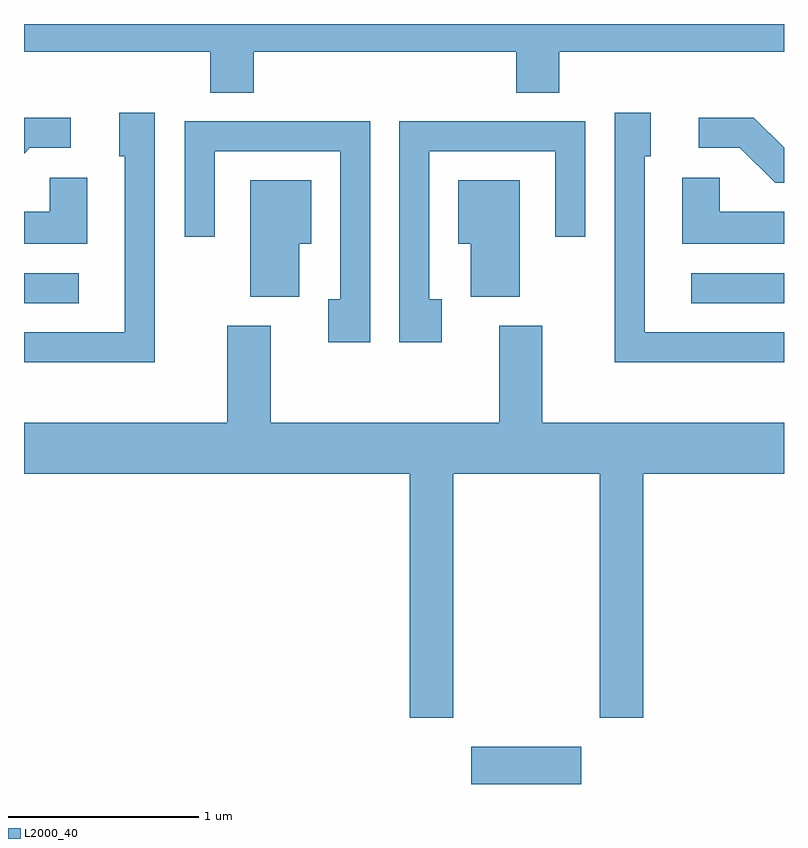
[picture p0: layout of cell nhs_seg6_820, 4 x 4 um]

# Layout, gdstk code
import gdstk
lib = gdstk.Library(unit=1e-6, precision=1e-09)
def R(c, l, rs):  # rectangles x0, y0, x1, y1
    for r in rs: c.add(gdstk.rectangle(r[:2], r[2:], *l))
def P(c, l, *ps):  # polygons
    for p in ps: c.add(gdstk.Polygon(p, *l))
L2000_40 = (2000, 40)

nhs_seg6_820 = lib.new_cell('nhs_seg6_820')
R(nhs_seg6_820, L2000_40, [(211.966,1566.162,212.544,1566.359), (209.611,1568.691,209.898,1568.849), (213.123,1568.691,213.611,1568.849)])
P(nhs_seg6_820, L2000_40, [(210.819,1570.016),(212.201,1570.016),(212.201,1569.801),(212.429,1569.801),(212.429,1570.016),(213.611,1570.016),(213.611,1570.162),(209.611,1570.162),(209.611,1570.016),(210.591,1570.016),(210.591,1569.801),(210.819,1569.801)],
  [(210.299,1569.694),(210.111,1569.694),(210.111,1569.466),(210.141,1569.466),(210.141,1568.539),(209.611,1568.539),(209.611,1568.381),(210.299,1568.381)],
  [(213.611,1568.539),(212.879,1568.539),(212.879,1569.466),(212.909,1569.466),(212.909,1569.694),(212.721,1569.694),(212.721,1568.381),(213.611,1568.381)],
  [(209.642,1569.511),(209.858,1569.511),(209.858,1569.669),(209.611,1569.669),(209.611,1569.48)],
  [(213.611,1569.51),(213.452,1569.669),(213.163,1569.669),(213.163,1569.511),(213.379,1569.511),(213.564,1569.326),(213.611,1569.326)],
  [(211.809,1568.714),(211.744,1568.714),(211.744,1569.491),(212.406,1569.491),(212.406,1569.043),(212.564,1569.043),(212.564,1569.649),(211.586,1569.649),(211.586,1568.486),(211.809,1568.486)],
  [(211.434,1569.649),(210.456,1569.649),(210.456,1569.043),(210.614,1569.043),(210.614,1569.491),(211.276,1569.491),(211.276,1568.714),(211.211,1568.714),(211.211,1568.486),(211.434,1568.486)],
  [(213.611,1569.174),(213.274,1569.174),(213.274,1569.354),(213.076,1569.354),(213.076,1569.006),(213.611,1569.006)],
  [(209.944,1569.354),(209.746,1569.354),(209.746,1569.174),(209.611,1569.174),(209.611,1569.006),(209.944,1569.006)],
  [(211.059,1569.006),(211.124,1569.006),(211.124,1569.339),(210.801,1569.339),(210.801,1568.726),(211.059,1568.726)],
  [(212.219,1569.339),(211.896,1569.339),(211.896,1569.006),(211.961,1569.006),(211.961,1568.726),(212.219,1568.726)],
  [(211.869,1567.796),(212.641,1567.796),(212.641,1566.511),(212.869,1566.511),(212.869,1567.796),(213.611,1567.796),(213.611,1568.064),(212.339,1568.064),(212.339,1568.574),(212.111,1568.574),(212.111,1568.064),(210.909,1568.064),(210.909,1568.574),(210.681,1568.574),(210.681,1568.064),(209.611,1568.064),(209.611,1567.796),(211.641,1567.796),(211.641,1566.511),(211.869,1566.511)])

lib.write_gds('nhs_seg6_820.gds')
